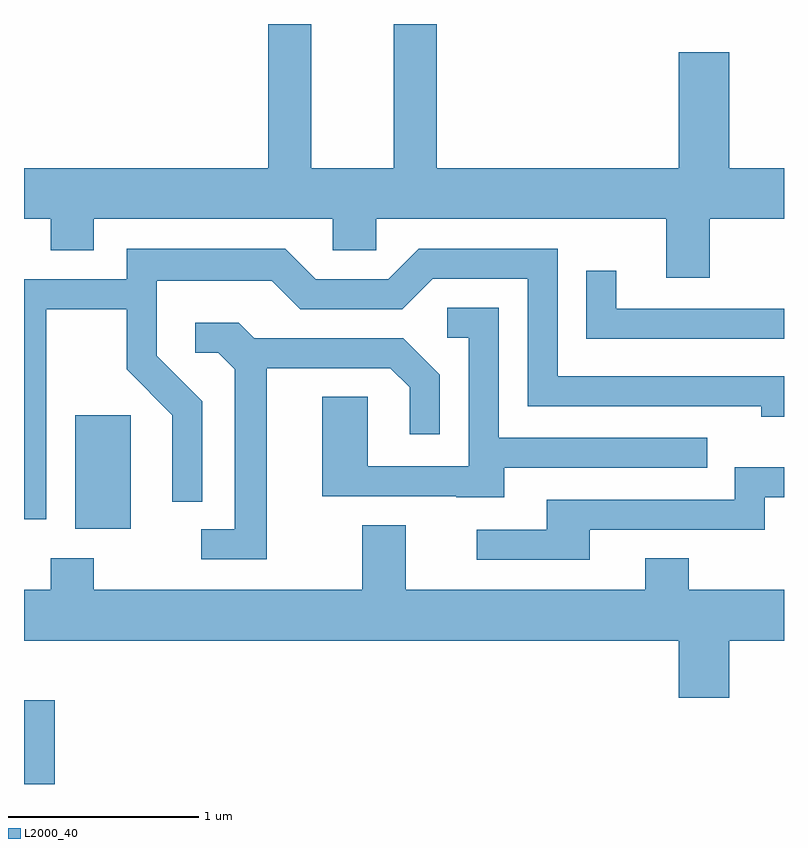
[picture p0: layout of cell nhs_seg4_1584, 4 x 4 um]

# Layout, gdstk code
import gdstk
lib = gdstk.Library(unit=1e-6, precision=1e-09)
def R(c, l, rs):  # rectangles x0, y0, x1, y1
    for r in rs: c.add(gdstk.rectangle(r[:2], r[2:], *l))
def P(c, l, *ps):  # polygons
    for p in ps: c.add(gdstk.Polygon(p, *l))
L2000_40 = (2000, 40)

nhs_seg4_1584 = lib.new_cell('nhs_seg4_1584')
R(nhs_seg4_1584, L2000_40, [(231.611,1293.982,231.774,1294.424), (231.881,1295.326,232.174,1295.924)])
P(nhs_seg4_1584, L2000_40, [(235.219,1296.956),(235.611,1296.956),(235.611,1297.224),(235.324,1297.224),(235.324,1297.834),(235.056,1297.834),(235.056,1297.224),(233.784,1297.224),(233.784,1297.982),(233.556,1297.982),(233.556,1297.224),(233.124,1297.224),(233.124,1297.982),(232.896,1297.982),(232.896,1297.224),(231.611,1297.224),(231.611,1296.956),(231.751,1296.956),(231.751,1296.791),(231.979,1296.791),(231.979,1296.956),(233.236,1296.956),(233.236,1296.791),(233.464,1296.791),(233.464,1296.956),(234.991,1296.956),(234.991,1296.646),(235.219,1296.646)],
  [(231.729,1296.481),(232.151,1296.481),(232.151,1296.164),(232.391,1295.924),(232.391,1295.468),(232.549,1295.468),(232.549,1295.997),(232.309,1296.237),(232.309,1296.631),(232.914,1296.631),(233.064,1296.481),(233.602,1296.481),(233.762,1296.641),(234.261,1296.641),(234.261,1295.971),(235.491,1295.971),(235.491,1295.916),(235.611,1295.916),(235.611,1296.129),(234.419,1296.129),(234.419,1296.799),(233.689,1296.799),(233.529,1296.639),(233.147,1296.639),(232.987,1296.799),(232.151,1296.799),(232.151,1296.639),(231.611,1296.639),(231.611,1295.376),(231.729,1295.376)],
  [(235.611,1296.484),(234.729,1296.484),(234.729,1296.683),(234.571,1296.683),(234.571,1296.326),(235.611,1296.326)],
  [(234.139,1295.646),(235.208,1295.646),(235.208,1295.804),(234.109,1295.804),(234.109,1296.489),(233.838,1296.489),(233.838,1296.331),(233.951,1296.331),(233.951,1295.654),(233.419,1295.654),(233.419,1296.019),(233.181,1296.019),(233.181,1295.496),(233.885,1295.496),(233.885,1295.491),(234.139,1295.491)],
  [(232.889,1296.171),(233.539,1296.171),(233.641,1296.069),(233.641,1295.823),(233.799,1295.823),(233.799,1296.137),(233.607,1296.329),(232.822,1296.329),(232.742,1296.409),(232.513,1296.409),(232.513,1296.251),(232.634,1296.251),(232.721,1296.164),(232.721,1295.324),(232.543,1295.324),(232.543,1295.166),(232.889,1295.166)],
  [(234.589,1295.321),(235.509,1295.321),(235.509,1295.491),(235.611,1295.491),(235.611,1295.649),(235.351,1295.649),(235.351,1295.479),(234.361,1295.479),(234.361,1295.319),(233.993,1295.319),(233.993,1295.161),(234.589,1295.161)],
  [(235.324,1294.736),(235.611,1294.736),(235.611,1295.004),(235.109,1295.004),(235.109,1295.169),(234.881,1295.169),(234.881,1295.004),(233.619,1295.004),(233.619,1295.344),(233.391,1295.344),(233.391,1295.004),(231.979,1295.004),(231.979,1295.169),(231.751,1295.169),(231.751,1295.004),(231.611,1295.004),(231.611,1294.736),(235.056,1294.736),(235.056,1294.436),(235.324,1294.436)])

lib.write_gds('nhs_seg4_1584.gds')
